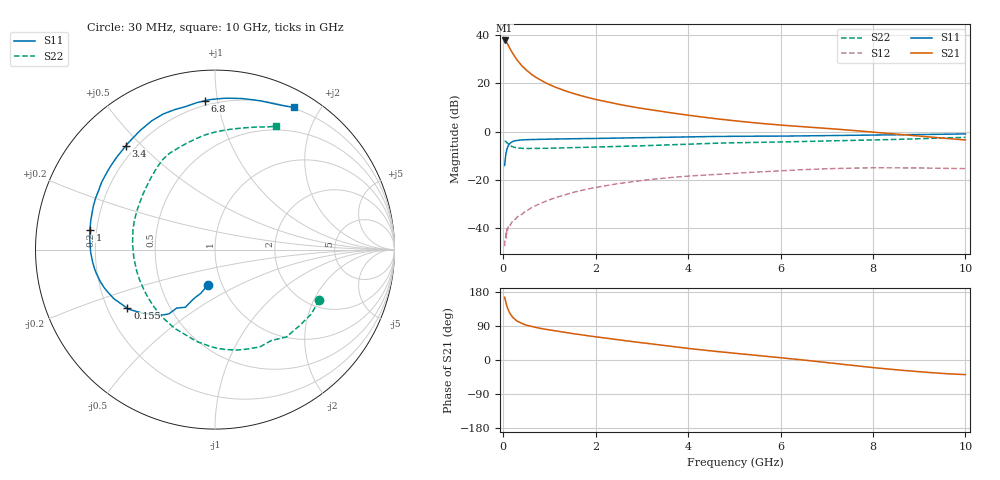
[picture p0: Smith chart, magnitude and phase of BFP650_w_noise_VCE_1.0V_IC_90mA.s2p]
! Infineon Technologies  Discrete & RF Semiconductors
! BFP650
! VCE =  1.0 V,  IC =  90 mA
! Common Emitter S-Parameters:  Jan 2016
# GHz  S  MA  R  50
!  f  S11  S21  S12  S22
! GHz  MAG  ANG  MAG  ANG  MAG  ANG  MAG  ANG
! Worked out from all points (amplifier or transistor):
!   229 points, 30 MHz to 10 GHz, reference 50 ohm
!   highest |S21| = 37.8 dB at 30 MHz (marker M1)
!   |S21| within 3 dB of that: start of sweep to 135.3 MHz
!   unconditionally stable (mu >= 1): 1.031 GHz to end of sweep
!   at 280 MHz: K = 0.71, MSG = 33.0 dB, |S12| = -35.8 dB
!   at 1.78 GHz: K = 1.04, MAG = 17.9 dB, |S12| = -23.8 dB
!   at 10 GHz: K = 1.05, MAG = 4.6 dB, |S12| = -15.2 dB
!   lowest NFmin = 1.34 dB at 450 MHz
!   S11 on the Smith chart (normalised r, x): 30 MHz: 0.86, -0.35; 155 MHz: 0.28, -0.28; 1 GHz: 0.17, +0.08; 3.4 GHz: 0.16, +0.45; 6.8 GHz: 0.17, +0.92; 10 GHz: 0.19, +1.68
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0.03  0.2008 -101.6  77.65 165.6  0.0043 50.8  0.6456 -25.9
0.04  0.2537 -107.7  77.5 160.6  0.0057 61.5  0.6451 -34.0
0.06  0.361 -117.2  74.89 150.9  0.0086 61.4  0.6286 -50.7
0.08  0.4412 -125.7  69.79 141.9  0.0105 61.3  0.597 -65.1
0.1  0.4941 -132.9  63.96 134.9  0.0099 60.1  0.5733 -77.3
0.12  0.5362 -138.6  58.37 129.1  0.0107 57.2  0.5511 -88.4
0.14  0.5686 -143.3  54 124.2  0.0117 51.7  0.5298 -96.9
0.155  0.5876 -146.2  50.95 121.3  0.0118 49.5  0.5177 -102.6
0.2  0.6264 -154.1  42.76 113.1  0.0142 52.8  0.4928 -117.3
0.24  0.6447 -158.9  37.13 108.4  0.0148 53.5  0.4788 -126.4
0.3  0.6634 -164.4  30.52 102.7  0.0171 54.0  0.4653 -137.6
0.36  0.6735 -168.4  25.89 98.8  0.0189 55.3  0.4581 -145.4
0.45  0.6839 -173.2  20.92 94.1  0.0216 56.9  0.4529 -154.4
0.6  0.6931 -178.8  15.77 88.7  0.0265 57.7  0.4521 -164.7
0.8  0.7 175.5  11.84 83.4  0.0327 59.4  0.4545 -174.0
1  0.7054 170.9  9.453 79.2  0.0392 59.7  0.4574 179.2
1.7  0.7237 157.4  5.534 66.4  0.0616 54.3  0.4746 162.5
3.4  0.7624 130.7  2.662 39.6  0.1083 35.9  0.5294 133.7
5.1  0.809 109.9  1.653 16.7  0.1403 18.2  0.5954 113.8
6.8  0.8308 94.0  1.214 -4.0  0.1695 0.8  0.6379 95.8
8.4  0.8628 74.9  0.914 -24.7  0.1795 -17.0  0.6919 78.0
10  0.9061 61.1  0.679 -38.6  0.1734 -29.2  0.7666 63.9
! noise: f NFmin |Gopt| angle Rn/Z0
0.45  1.34  0.53  -171  0.06
0.9  1.36  0.54  -165  0.07
1.9  1.5  0.57  -150  0.09
2.4  1.59  0.56  -141  0.12
3.5  1.78  0.56  -118  0.22
